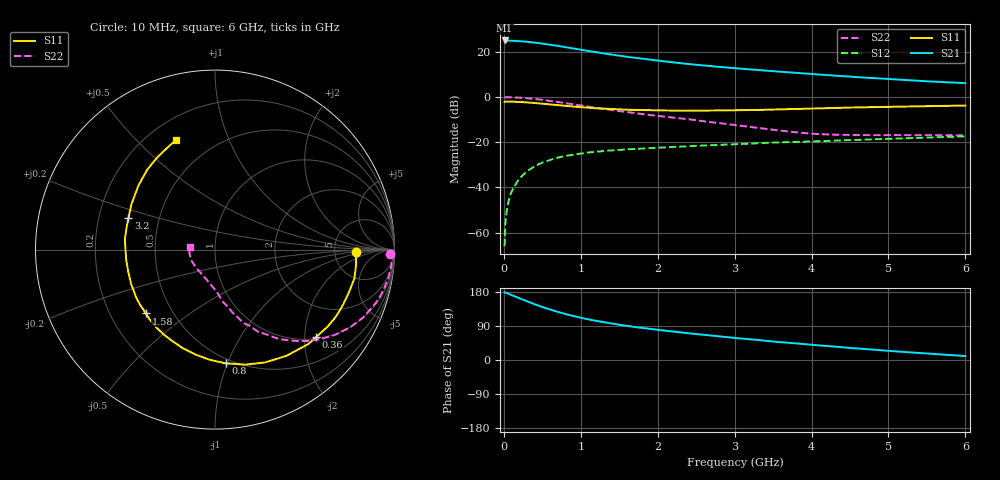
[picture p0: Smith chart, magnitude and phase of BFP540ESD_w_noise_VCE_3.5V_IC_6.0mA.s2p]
! Infineon Technologies  Discrete & RF Semiconductors
! BFP540ESD
! VCE =  3.5 V,  IC =  6.0 mA
! Common Emitter S-Parameters:  Nov 2015
# GHz  S  MA  R  50
!  f  S11  S21  S12  S22
! GHz  MAG  ANG  MAG  ANG  MAG  ANG  MAG  ANG
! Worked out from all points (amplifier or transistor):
!   210 points, 10 MHz to 6 GHz, reference 50 ohm
!   highest |S21| = 25.0 dB at 10 MHz (marker M1)
!   |S21| within 3 dB of that: start of sweep to 807 MHz
!   unconditionally stable (mu >= 1): start of sweep to 10.48 MHz; 3.159 GHz to end of sweep
!   at 185 MHz: K = 0.06, MSG = 30.9 dB, |S12| = -37.0 dB
!   at 1.52 GHz: K = 0.55, MSG = 20.8 dB, |S12| = -23.4 dB
!   at 6 GHz: K = 1.20, MAG = 9.1 dB, |S12| = -17.4 dB
!   lowest NFmin = 0.73 dB at 900 MHz
!   S11 on the Smith chart (normalised r, x): 10 MHz: 8.36, -0.54; 360 MHz: 1.04, -2.28; 800 MHz: 0.46, -0.99; 1.58 GHz: 0.35, -0.35; 3.2 GHz: 0.33, +0.16; 6 GHz: 0.31, +0.66
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0.01  0.7872 -0.9  17.84 178.6  0.0005 74.5  0.9779 -1.3
0.02  0.7864 -2.7  17.63 178.2  0.0016 94.4  0.9883 -1.3
0.03  0.7876 -3.7  17.63 177.3  0.0024 89.7  0.988 -1.9
0.09  0.792 -10.5  17.62 172.2  0.0072 83.5  0.9851 -5.8
0.2  0.7768 -23.1  17.23 163.0  0.0154 80.0  0.9676 -12.7
0.3  0.7604 -34.3  16.7 154.9  0.0225 75.1  0.9411 -18.8
0.36  0.745 -40.8  16.25 150.4  0.0266 71.9  0.9198 -22.3
0.5  0.7136 -55.9  15.29 139.7  0.0353 64.8  0.8665 -30.2
0.58  0.6914 -63.9  14.55 134.3  0.0394 61.8  0.8307 -34.1
0.7  0.6634 -75.1  13.55 127.1  0.0456 57.4  0.7774 -39.6
0.8  0.6366 -84.6  12.69 121.2  0.0497 54.5  0.7317 -44.1
1.02  0.5911 -101.8  10.97 110.7  0.0567 48.9  0.6414 -51.7
1.2  0.5624 -115.0  9.774 103.2  0.0612 45.0  0.5772 -56.9
1.4  0.5428 -127.3  8.693 96.3  0.0658 42.0  0.515 -62.5
1.58  0.5242 -137.3  7.838 90.7  0.069 39.7  0.4683 -65.4
2.02  0.5038 -158.8  6.324 79.0  0.0759 35.7  0.3798 -73.4
2.58  0.4997 179.6  5.012 66.7  0.0841 32.6  0.2919 -81.6
3.1  0.5097 163.0  4.208 56.5  0.0915 30.4  0.2284 -89.2
3.2  0.5127 160.1  4.08 54.8  0.0931 29.8  0.2178 -91.4
4.1  0.5607 137.9  3.142 38.5  0.1051 25.4  0.1509 -123.2
5.1  0.61 120.5  2.446 22.7  0.1202 20.5  0.1438 -159.2
6  0.6474 109.5  2.025 10.4  0.1348 16.6  0.142 175.1
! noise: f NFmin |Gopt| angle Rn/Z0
0.9  0.73  0.05  38  0.12
1.8  0.95  0.08  153  0.11
2.4  0.97  0.09  154  0.1
3  1.1  0.19  178  0.09
4  1.28  0.3  -122  0.14
5  1.5  0.42  -99  0.29
6  1.73  0.51  -100  0.43
